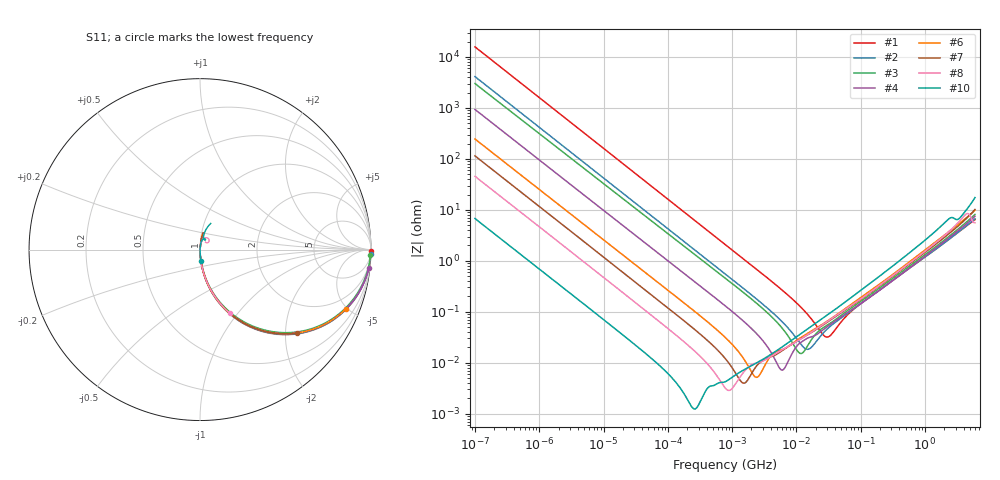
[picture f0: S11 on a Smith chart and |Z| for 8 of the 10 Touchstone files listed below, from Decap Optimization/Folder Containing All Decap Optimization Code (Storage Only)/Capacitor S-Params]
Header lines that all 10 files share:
!These Parameters are Measured in Series Mode Connection
!  o--ll--o
!Port1  Port2
!  o------o
# Hz S RI R 50
!Freq.(Hz) S11(Real) S11(Imag) S21(Real) S21(Imag) S12(Real) S12(Imag) S22(Real) S22(Imag)
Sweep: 100 Hz to 6 GHz
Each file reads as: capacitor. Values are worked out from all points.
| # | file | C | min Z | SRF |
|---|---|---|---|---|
| 1 | 0_GRM033C80J104KE84.s2p | 101 nF | 31.9 mohm | 30.78 MHz |
| 2 | 1_GRM033R60J474KE90.s2p | 386 nF | 18.3 mohm | 15.28 MHz |
| 3 | 2_GRM155B31C105KA12.s2p | 526 nF | 15.2 mohm | 12.15 MHz |
| 4 | 3_GRM155C70J225KE11.s2p | 1.7 uF | 7.17 mohm | 6.167 MHz |
| 5 | 4_GRM185C81A475KE11.s2p | 3.5 uF | 7.1 mohm | 3.677 MHz |
| 6 | 5_GRM188R61A106KAAL.s2p | 6.45 uF | 5.17 mohm | 2.487 MHz |
| 7 | 6_GRM188B30J226MEA0.s2p | 13.8 uF | 3.97 mohm | 1.598 MHz |
| 8 | 7_GRM219D80E476ME44.s2p | 34.8 uF | 2.86 mohm | 935 kHz |
| 9 | 8_GRM31CR60J227ME11.s2p | 154 uF | 1.92 mohm | 333 kHz |
| 10 | 9_GRM32EC80E337ME05.s2p | 235 uF | 1.23 mohm | 273.6 kHz |
